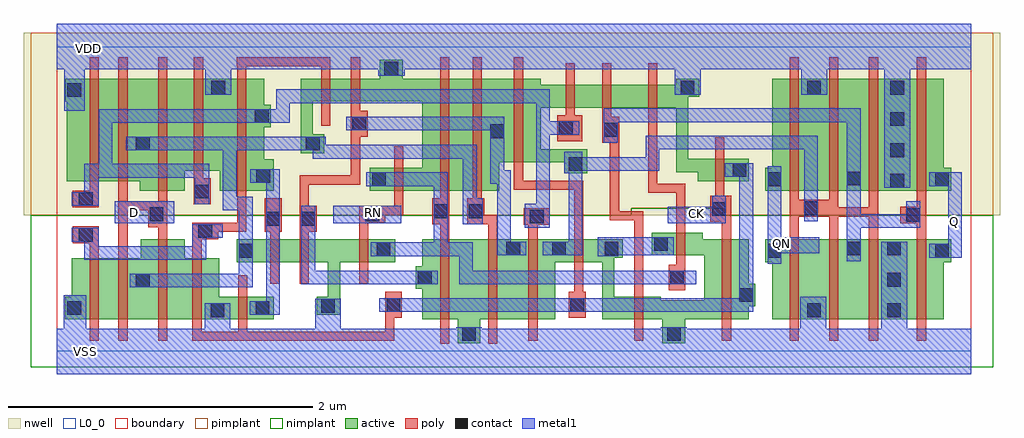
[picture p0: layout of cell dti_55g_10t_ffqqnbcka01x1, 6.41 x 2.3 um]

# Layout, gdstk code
from math import pi, radians
import gdstk
lib = gdstk.Library(unit=1e-6, precision=1e-09)
def R(c, l, rs):  # rectangles x0, y0, x1, y1
    for r in rs: c.add(gdstk.rectangle(r[:2], r[2:], *l))
def P(c, l, *ps):  # polygons
    for p in ps: c.add(gdstk.Polygon(p, *l))
L0_0 = (0, 0)
nwell = (3, 0)
active = (6, 0)
poly = (17, 0)
pimplant = (25, 0)
nimplant = (26, 0)
contact = (30, 0)
metal1 = (31, 0)
boundary = (108, 0)
L923_0 = (923, 0)

template_55g_10t_6 = lib.new_cell('template_55g_10t$6')
R(template_55g_10t_6, metal1, [(0,-0.15,0.2,0.15), (0,1.85,0.2,2.15)])
template_55g_10t_6.add(gdstk.FlexPath([(0.2,0.21),(0,0.21)], 0, ends="flush", simple_path=True, layer=923, datatype=0))  # L923_0
template_55g_10t_6.add(gdstk.FlexPath([(0.2,0.735),(0,0.735)], 0, ends="flush", simple_path=True, layer=923, datatype=0))  # L923_0
template_55g_10t_6.add(gdstk.FlexPath([(0.2,0.895),(0,0.895)], 0, ends="flush", simple_path=True, layer=923, datatype=0))  # L923_0
template_55g_10t_6.add(gdstk.FlexPath([(0.2,1.055),(0,1.055)], 0, ends="flush", simple_path=True, layer=923, datatype=0))  # L923_0
template_55g_10t_6.add(gdstk.FlexPath([(0.2,1.79),(0,1.79)], 0, ends="flush", simple_path=True, layer=923, datatype=0))  # L923_0

cellgrid_nom2_5 = lib.new_cell('cellgrid_noM2$5')
R(cellgrid_nom2_5, L0_0, [(0,0,0.2,0.2)])
cellgrid_nom2_5.add(gdstk.FlexPath([(0.2,0),(0,0.2)], 0, ends="flush", simple_path=True, layer=0, datatype=0))  # L0_0
cellgrid_nom2_5.add(gdstk.FlexPath([(0.2,0.2),(0,0)], 0, ends="flush", simple_path=True, layer=0, datatype=0))  # L0_0

pmos_15_n_2_1 = lib.new_cell('pmos_15_n_2$1')
R(pmos_15_n_2_1, nwell, [(-0.275,-0.16,0.335,0.31)])
R(pmos_15_n_2_1, active, [(-0.115,0,0.175,0.15)])
R(pmos_15_n_2_1, poly, [(0,-0.14,0.06,0.29)])
R(pmos_15_n_2_1, pimplant, [(-0.245,-0.16,0.305,0.31)])

pmos_735_n_2_6 = lib.new_cell('pmos_735_n_2$6')
R(pmos_735_n_2_6, nwell, [(-0.275,-0.16,0.335,0.895)])
R(pmos_735_n_2_6, active, [(-0.115,0,0.175,0.735)])
R(pmos_735_n_2_6, poly, [(0,-0.14,0.06,0.875)])
R(pmos_735_n_2_6, pimplant, [(-0.245,-0.16,0.305,0.895)])

cnt_7 = lib.new_cell('cnt$7')
R(cnt_7, contact, [(-0.045,-0.045,0.045,0.045)])
R(cnt_7, metal1, [(-0.045,-0.045,0.045,0.045)])

pcnt_v_7 = lib.new_cell('pcnt_v$7')
R(pcnt_v_7, poly, [(-0.055,-0.085,0.055,0.085)])
pcnt_v_7.add(gdstk.Reference(cnt_7, (0,0)))

pmos_4_n_2_1 = lib.new_cell('pmos_4_n_2$1')
R(pmos_4_n_2_1, nwell, [(-0.275,-0.16,0.335,0.56)])
R(pmos_4_n_2_1, active, [(-0.115,0,0.175,0.4)])
R(pmos_4_n_2_1, poly, [(0,-0.14,0.06,0.54)])
R(pmos_4_n_2_1, pimplant, [(-0.245,-0.16,0.305,0.56)])

nmos_525_n_2_6 = lib.new_cell('nmos_525_n_2$6')
R(nmos_525_n_2_6, active, [(-0.115,0,0.175,0.525)])
R(nmos_525_n_2_6, poly, [(0,-0.14,0.06,0.665)])
R(nmos_525_n_2_6, nimplant, [(-0.245,-0.16,0.305,0.685)])

cnt_n_6 = lib.new_cell('cnt_n$6')
R(cnt_n_6, active, [(-0.06,-0.075,0.06,0.075)])
R(cnt_n_6, contact, [(-0.045,-0.045,0.045,0.045)])
R(cnt_n_6, metal1, [(-0.045,-0.045,0.045,0.045)])

nmos_4_n_2_1 = lib.new_cell('nmos_4_n_2$1')
R(nmos_4_n_2_1, active, [(-0.115,0,0.175,0.4)])
R(nmos_4_n_2_1, poly, [(0,-0.14,0.06,0.54)])
R(nmos_4_n_2_1, nimplant, [(-0.245,-0.16,0.305,0.56)])

nmos_15_n_2_1 = lib.new_cell('nmos_15_n_2$1')
R(nmos_15_n_2_1, active, [(-0.115,0,0.175,0.15)])
R(nmos_15_n_2_1, poly, [(0,-0.14,0.06,0.29)])
R(nmos_15_n_2_1, nimplant, [(-0.245,-0.16,0.305,0.31)])

dti_55g_10t_ffqqnbcka01x = lib.new_cell('dti_55g_10t_ffqqnbcka01x1')
R(dti_55g_10t_ffqqnbcka01x, nwell, [(-0.215,-1.105,6.19,0.09)])
R(dti_55g_10t_ffqqnbcka01x, active, [(2.63,-1.835,2.78,-1.785), (3.975,-1.83,4.125,-1.79), (1.325,-1.79,1.425,-1.64), (2.66,-1.79,2.74,-1.265), (3.93,-1.79,4.295,-1.665), (5.42,-1.79,5.595,-1.265), (2.06,-1.415,2.22,-1.265), (3.25,-1.415,3.335,-1.265), (4.155,-1.37,4.325,-1.265), (1.27,-0.945,1.425,-0.74), (2.37,-0.945,2.43,-0.795), (5.44,-0.945,5.59,-0.21), (3.125,-0.76,3.48,-0.675), (1.6,-0.7,1.68,-0.21), (1.6,-0.7,1.755,-0.635), (3.14,-0.4,3.255,-0.25), (3.74,-0.4,3.79,-0.25)])
P(dti_55g_10t_ffqqnbcka01x, active, [(4.065,-0.825),(4.065,-0.4),(4.03,-0.4),(4.03,-0.25),(4.145,-0.25),(4.145,-0.735),(4.23,-0.735),(4.23,-0.825)],
  [(3.58,-1.79),(3.58,-1.415),(3.54,-1.415),(3.54,-1.265),(3.66,-1.265),(3.66,-1.64),(3.705,-1.64),(3.705,-1.79)],
  [(1.78,-1.76),(1.78,-1.415),(1.725,-1.415),(1.725,-1.265),(1.905,-1.265),(1.905,-1.415),(1.86,-1.415),(1.86,-1.76)],
  [(0.545,-0.945),(0.545,-0.885),(0.065,-0.885),(0.065,-0.21),(1.36,-0.21),(1.36,-0.885),(1.075,-0.885),(1.075,-0.815),(0.84,-0.815),(0.84,-0.945)],
  [(1.06,-1.79),(1.06,-1.66),(1.015,-1.66),(1.015,-1.64),(1.12,-1.64),(1.12,-1.66),(1.085,-1.66),(1.085,-1.79)],
  [(2.06,-0.36),(2.06,-0.21),(2.12,-0.21),(2.12,-0.165),(2.27,-0.165),(2.27,-0.21),(2.44,-0.21),(2.44,-0.36)])
R(dti_55g_10t_ffqqnbcka01x, poly, [(2.515,-1.95,2.575,-1.905), (2.83,-1.95,2.89,-1.9), (3.395,-1.65,3.455,-1.5), (4.095,-1.595,4.125,-1.49), (0.405,-1.26,0.465,-1.015), (5.33,-1.19,5.39,-1.05), (2.725,-1.165,2.89,-1.105), (4.385,-1.16,4.425,-0.98), (0.695,-1.15,0.725,-1.04), (5.13,-1.115,5.335,-1.055), (1.985,-1.105,2.275,-1.045), (1.365,-1.1,1.475,-0.995), (0.435,-1.075,0.64,-1.015), (3.305,-0.62,3.45,-0.45), (3.38,-0.62,3.4,-0.515), (1.735,-0.52,1.795,-0.475), (1.18,-0.13,1.795,-0.07)])
P(dti_55g_10t_ffqqnbcka01x, poly, [(3.395,-1.17),(3.395,-0.94),(3,-0.94),(3,-0.88),(3.455,-0.88),(3.455,-1.17)],
  [(4.065,-1.105),(4.065,-0.96),(3.88,-0.96),(3.88,-0.495),(3.94,-0.495),(3.94,-0.9),(4.125,-0.9),(4.125,-1.105)],
  [(0.99,-1.215),(0.99,-1.155),(1.185,-1.155),(1.185,-1.04),(1.245,-1.04),(1.245,-1.215)],
  [(4.81,-1.18),(4.81,-1.145),(4.81,-1.145),(4.81,-1.115),(4.81,-1.115),(4.81,-1.035),(4.87,-1.035),(4.87,-1.18)],
  [(1.595,-1.08),(1.595,-0.845),(1.93,-0.845),(1.93,-0.565),(1.99,-0.565),(1.99,-0.905),(1.655,-0.905),(1.655,-1.08)],
  [(0.89,-1.93),(0.89,-1.87),(2.155,-1.87),(2.155,-1.78),(2.215,-1.78),(2.215,-1.93)],
  [(3.79,-1.525),(3.79,-1.14),(3.63,-1.14),(3.63,-0.605),(3.69,-0.605),(3.69,-1.08),(3.85,-1.08),(3.85,-1.525)],
  [(5.07,-1.17),(5.07,-1.115),(5.03,-1.115),(5.03,-1.005),(5.1,-1.005),(5.1,-1.05),(5.13,-1.05),(5.13,-1.17)])
P(dti_55g_10t_ffqqnbcka01x, pimplant, [(-0.17,-1.105),(-0.17,0.09),(6.145,0.09),(6.145,-1.105),(4.37,-1.105),(4.37,-1.06),(3.77,-1.06),(3.77,-1.105)])
R(dti_55g_10t_ffqqnbcka01x, nimplant, [(3.77,-1.105,3.84,-1.06)])
P(dti_55g_10t_ffqqnbcka01x, nimplant, [(-0.17,-2.105),(-0.17,-1.105),(6.145,-1.105),(6.145,-2.105),(0.175,-2.105)])
R(dti_55g_10t_ffqqnbcka01x, metal1, [(0.045,-2,0.195,-1.63), (0.97,-2,1.14,-1.685), (1.695,-2,1.865,-1.655), (2.62,-2,2.79,-1.84), (3.965,-2,4.135,-1.84), (4.88,-2,5.05,-1.64), (5.41,-2,5.58,-1.28), (3.07,-1.19,3.235,-1.03), (0.38,-1.16,0.77,-1.015), (1.815,-1.16,2.26,-1.045), (5.43,-0.925,5.6,0), (3.33,-0.83,3.45,-0.69), (0.05,-0.42,0.185,0), (0.975,-0.315,1.145,0), (4.055,-0.315,4.225,0), (4.885,-0.315,5.055,0), (2.11,-0.19,2.285,0)])
P(dti_55g_10t_ffqqnbcka01x, metal1, [(2.64,-1.56),(2.64,-1.375),(2.06,-1.375),(2.06,-1.285),(2.475,-1.285),(2.475,-0.915),(2.03,-0.915),(2.03,-0.825),(2.565,-0.825),(2.565,-1.285),(2.73,-1.285),(2.73,-1.47),(4.195,-1.47),(4.195,-1.56)],
  [(2.115,-1.74),(2.115,-1.65),(2.365,-1.65),(2.365,-1.65),(4.48,-1.65),(4.48,-0.855),(4.385,-0.855),(4.385,-0.765),(4.57,-0.765),(4.57,-1.74),(2.445,-1.74),(2.445,-1.74)],
  [(1.605,-1.56),(1.605,-1.045),(1.695,-1.045),(1.695,-1.47),(2.5,-1.47),(2.5,-1.56)],
  [(3.19,-1.37),(3.19,-1.28),(3.36,-1.28),(3.36,-0.69),(3.45,-0.69),(3.45,-0.725),(3.865,-0.725),(3.865,-0.585),(4.995,-0.585),(4.995,-1.145),(4.905,-1.145),(4.905,-0.675),(3.955,-0.675),(3.955,-0.815),(3.45,-0.815),(3.45,-1.37)],
  [(3.07,-1.16),(3.07,-1.065),(3.145,-1.065),(3.145,-0.37),(1.53,-0.37),(1.53,-0.5),(0.365,-0.5),(0.365,-0.77),(1,-0.77),(1,-1.035),(0.905,-1.035),(0.905,-0.86),(0.275,-0.86),(0.275,-1.045),(0.1,-1.045),(0.1,-0.955),(0.18,-0.955),(0.18,-0.77),(0.275,-0.77),(0.275,-0.41),(1.44,-0.41),(1.44,-0.28),(3.235,-0.28),(3.235,-0.49),(3.43,-0.49),(3.43,-0.58),(3.235,-0.58),(3.235,-1.16)],
  [(0.18,-1.4),(0.18,-1.28),(0.1,-1.28),(0.1,-1.19),(0.275,-1.19),(0.275,-1.31),(0.89,-1.31),(0.89,-1.165),(1.09,-1.165),(1.09,-1.255),(0.98,-1.255),(0.98,-1.4)],
  [(3.55,-1.375),(3.55,-1.25),(3.685,-1.25),(3.685,-1.25),(4.05,-1.25),(4.05,-1.37),(3.685,-1.37),(3.685,-1.375)],
  [(1.265,-1.76),(1.265,-1.67),(1.375,-1.67),(1.375,-0.895),(1.27,-0.895),(1.27,-0.805),(1.465,-0.805),(1.465,-1.76)],
  [(0.48,-1.58),(0.48,-1.49),(1.195,-1.49),(1.195,-1.075),(1.09,-1.075),(1.09,-0.68),(0.455,-0.68),(0.455,-0.59),(1.765,-0.59),(1.765,-0.645),(2.755,-0.645),(2.755,-0.995),(2.795,-0.995),(2.795,-1.165),(2.665,-1.165),(2.665,-0.735),(1.68,-0.735),(1.68,-0.68),(1.18,-0.68),(1.18,-0.985),(1.285,-0.985),(1.285,-1.58)],
  [(4.665,-1.425),(4.665,-0.785),(4.755,-0.785),(4.755,-1.25),(5.005,-1.25),(5.005,-1.355),(4.755,-1.355),(4.755,-1.425)],
  [(2.89,-1.37),(2.89,-0.9),(2.845,-0.9),(2.845,-0.55),(1.9,-0.55),(1.9,-0.46),(2.935,-0.46),(2.935,-0.81),(2.98,-0.81),(2.98,-1.28),(3.08,-1.28),(3.08,-1.37)],
  [(4.01,-1.16),(4.01,-1.05),(4.3,-1.05),(4.3,-0.98),(4.39,-0.98),(4.39,-1.16)],
  [(5.185,-1.41),(5.185,-0.495),(3.68,-0.495),(3.68,-0.63),(3.59,-0.63),(3.59,-0.405),(5.275,-0.405),(5.275,-1.1),(5.575,-1.1),(5.575,-1.015),(5.665,-1.015),(5.665,-1.19),(5.275,-1.19),(5.275,-1.41)],
  [(5.725,-1.385),(5.725,-1.295),(5.85,-1.295),(5.85,-0.915),(5.725,-0.915),(5.725,-0.825),(5.94,-0.825),(5.94,-1.385)])
P(dti_55g_10t_ffqqnbcka01x, boundary, [(0,-2.15),(0,0.15),(6,0.15),(6,-2.15),(0.27,-2.15),(0.175,-2.15)])
r = gdstk.Reference(template_55g_10t_6, (0,-2)); r.repetition = gdstk.Repetition(30, 1, v1=(0.2,0), v2=(0,0)); dti_55g_10t_ffqqnbcka01x.add(r)
r = gdstk.Reference(cellgrid_nom2_5, (0,-2)); r.repetition = gdstk.Repetition(30, 10, v1=(0.2,0), v2=(0,0.2)); dti_55g_10t_ffqqnbcka01x.add(r)
dti_55g_10t_ffqqnbcka01x.add(gdstk.Reference(pmos_15_n_2_1, (4.32,-0.885)))
dti_55g_10t_ffqqnbcka01x.add(gdstk.Reference(pmos_735_n_2_6, (4.81,-0.945)))
dti_55g_10t_ffqqnbcka01x.add(gdstk.Reference(pmos_735_n_2_6, (5.07,-0.945)))
dti_55g_10t_ffqqnbcka01x.add(gdstk.Reference(pmos_735_n_2_6, (5.33,-0.945)))
dti_55g_10t_ffqqnbcka01x.add(gdstk.Reference(pmos_735_n_2_6, (5.645,-0.945)))
dti_55g_10t_ffqqnbcka01x.add(gdstk.Reference(pcnt_v_7, (4.345,-1.065), rotation=pi))
dti_55g_10t_ffqqnbcka01x.add(gdstk.Reference(pmos_4_n_2_1, (3,-0.76)))
dti_55g_10t_ffqqnbcka01x.add(gdstk.Reference(pmos_4_n_2_1, (3,-0.61)))
dti_55g_10t_ffqqnbcka01x.add(gdstk.Reference(pmos_4_n_2_1, (0.405,-0.885)))
dti_55g_10t_ffqqnbcka01x.add(gdstk.Reference(pcnt_v_7, (0.955,-0.95), rotation=pi))
dti_55g_10t_ffqqnbcka01x.add(gdstk.Reference(pcnt_v_7, (0.19,-1), rotation=pi/2))
dti_55g_10t_ffqqnbcka01x.add(gdstk.Reference(pmos_4_n_2_1, (0.215,-0.885)))
dti_55g_10t_ffqqnbcka01x.add(gdstk.Reference(pmos_735_n_2_6, (1.185,-0.945)))
dti_55g_10t_ffqqnbcka01x.add(gdstk.Reference(pmos_735_n_2_6, (2.515,-0.945)))
dti_55g_10t_ffqqnbcka01x.add(gdstk.Reference(pmos_735_n_2_6, (2.73,-0.945)))
dti_55g_10t_ffqqnbcka01x.add(gdstk.Reference(pmos_735_n_2_6, (0.665,-0.945)))
dti_55g_10t_ffqqnbcka01x.add(gdstk.Reference(pmos_15_n_2_1, (2.215,-0.945)))
dti_55g_10t_ffqqnbcka01x.add(gdstk.Reference(pcnt_v_7, (2.52,-1.08)))
dti_55g_10t_ffqqnbcka01x.add(gdstk.Reference(pcnt_v_7, (2.75,-1.08)))
dti_55g_10t_ffqqnbcka01x.add(gdstk.Reference(nmos_525_n_2_6, (2.83,-1.79)))
dti_55g_10t_ffqqnbcka01x.add(gdstk.Reference(nmos_525_n_2_6, (3.095,-1.79)))
dti_55g_10t_ffqqnbcka01x.add(gdstk.Reference(cnt_n_6, (2.995,-1.325), rotation=pi/2))
dti_55g_10t_ffqqnbcka01x.add(gdstk.Reference(pmos_15_n_2_1, (3.34,-0.4)))
dti_55g_10t_ffqqnbcka01x.add(gdstk.Reference(cnt_n_6, (3.405,-0.77), rotation=pi/2))
dti_55g_10t_ffqqnbcka01x.add(gdstk.Reference(pmos_15_n_2_1, (3.58,-0.4)))
dti_55g_10t_ffqqnbcka01x.add(gdstk.Reference(pmos_15_n_2_1, (3.88,-0.4)))
dti_55g_10t_ffqqnbcka01x.add(gdstk.Reference(pcnt_v_7, (3.34,-0.535)))
dti_55g_10t_ffqqnbcka01x.add(gdstk.Reference(pcnt_v_7, (3.635,-0.545)))
dti_55g_10t_ffqqnbcka01x.add(gdstk.Reference(cnt_n_6, (4.48,-0.81), rotation=pi))
dti_55g_10t_ffqqnbcka01x.add(gdstk.Reference(cnt_n_6, (4.71,-0.87)))
dti_55g_10t_ffqqnbcka01x.add(gdstk.Reference(cnt_n_6, (4.97,-0.27), rotation=pi/2))
dti_55g_10t_ffqqnbcka01x.add(gdstk.Reference(cnt_n_6, (5.23,-0.865), rotation=pi/2))
dti_55g_10t_ffqqnbcka01x.add(gdstk.Reference(cnt_n_6, (5.515,-0.88), rotation=pi/2))
dti_55g_10t_ffqqnbcka01x.add(gdstk.Reference(cnt_n_6, (5.515,-0.68), rotation=pi/2))
dti_55g_10t_ffqqnbcka01x.add(gdstk.Reference(cnt_n_6, (5.515,-0.475), rotation=pi/2))
dti_55g_10t_ffqqnbcka01x.add(gdstk.Reference(cnt_n_6, (5.515,-0.27), rotation=pi/2))
dti_55g_10t_ffqqnbcka01x.add(gdstk.Reference(cnt_n_6, (5.81,-0.87), rotation=pi))
dti_55g_10t_ffqqnbcka01x.add(gdstk.Reference(cnt_n_6, (4.14,-0.27), rotation=3*pi/2))
dti_55g_10t_ffqqnbcka01x.add(gdstk.Reference(cnt_n_6, (0.115,-0.285)))
dti_55g_10t_ffqqnbcka01x.add(gdstk.Reference(pmos_4_n_2_1, (0.405,-0.61)))
dti_55g_10t_ffqqnbcka01x.add(gdstk.Reference(cnt_n_6, (0.565,-0.635), rotation=pi/2))
dti_55g_10t_ffqqnbcka01x.add(gdstk.Reference(pmos_4_n_2_1, (0.215,-0.61)))
dti_55g_10t_ffqqnbcka01x.add(gdstk.Reference(pmos_4_n_2_1, (0.9,-0.61)))
dti_55g_10t_ffqqnbcka01x.add(gdstk.Reference(pcnt_v_7, (1.985,-0.505)))
dti_55g_10t_ffqqnbcka01x.add(gdstk.Reference(cnt_n_6, (2.89,-0.555), rotation=pi/2))
dti_55g_10t_ffqqnbcka01x.add(gdstk.Reference(pmos_4_n_2_1, (0.9,-0.755)))
dti_55g_10t_ffqqnbcka01x.add(gdstk.Reference(pmos_15_n_2_1, (1.735,-0.36)))
dti_55g_10t_ffqqnbcka01x.add(gdstk.Reference(cnt_n_6, (2.115,-0.87), rotation=pi))
dti_55g_10t_ffqqnbcka01x.add(gdstk.Reference(cnt_n_6, (1.345,-0.455), rotation=pi))
dti_55g_10t_ffqqnbcka01x.add(gdstk.Reference(pmos_15_n_2_1, (1.93,-0.36)))
dti_55g_10t_ffqqnbcka01x.add(gdstk.Reference(cnt_n_6, (1.06,-0.27), rotation=pi/2))
dti_55g_10t_ffqqnbcka01x.add(gdstk.Reference(cnt_n_6, (1.355,-0.85), rotation=pi))
dti_55g_10t_ffqqnbcka01x.add(gdstk.Reference(cnt_n_6, (1.68,-0.635), rotation=pi/2))
dti_55g_10t_ffqqnbcka01x.add(gdstk.Reference(cnt_n_6, (2.195,-0.145), rotation=pi/2))
dti_55g_10t_ffqqnbcka01x.add(gdstk.Reference(nmos_525_n_2_6, (0.665,-1.79)))
dti_55g_10t_ffqqnbcka01x.add(gdstk.Reference(nmos_4_n_2_1, (0.89,-1.79)))
dti_55g_10t_ffqqnbcka01x.add(gdstk.Reference(pcnt_v_7, (0.655,-1.1)))
dti_55g_10t_ffqqnbcka01x.add(gdstk.Reference(pcnt_v_7, (0.975,-1.21), rotation=pi/2))
dti_55g_10t_ffqqnbcka01x.add(gdstk.Reference(pcnt_v_7, (0.19,-1.235), rotation=pi/2))
dti_55g_10t_ffqqnbcka01x.add(gdstk.Reference(nmos_15_n_2_1, (1.19,-1.79)))
dti_55g_10t_ffqqnbcka01x.add(gdstk.Reference(pcnt_v_7, (2.07,-1.1), rotation=pi/2))
dti_55g_10t_ffqqnbcka01x.add(gdstk.Reference(pcnt_v_7, (1.65,-1.13)))
dti_55g_10t_ffqqnbcka01x.add(gdstk.Reference(pcnt_v_7, (1.42,-1.13)))
dti_55g_10t_ffqqnbcka01x.add(gdstk.Reference(nmos_15_n_2_1, (1.4,-1.415)))
dti_55g_10t_ffqqnbcka01x.add(gdstk.Reference(pcnt_v_7, (2.21,-1.695), rotation=pi))
dti_55g_10t_ffqqnbcka01x.add(gdstk.Reference(nmos_15_n_2_1, (1.595,-1.415)))
dti_55g_10t_ffqqnbcka01x.add(gdstk.Reference(cnt_n_6, (0.115,-1.715), rotation=pi))
dti_55g_10t_ffqqnbcka01x.add(gdstk.Reference(cnt_n_6, (1.055,-1.73), rotation=pi/2))
dti_55g_10t_ffqqnbcka01x.add(gdstk.Reference(cnt_n_6, (2.415,-1.515), rotation=pi))
dti_55g_10t_ffqqnbcka01x.add(gdstk.Reference(cnt_n_6, (2.705,-1.885), rotation=pi/2))
dti_55g_10t_ffqqnbcka01x.add(gdstk.Reference(cnt_n_6, (1.35,-1.715), rotation=3*pi/2))
dti_55g_10t_ffqqnbcka01x.add(gdstk.Reference(cnt_n_6, (1.24,-1.34), rotation=pi))
dti_55g_10t_ffqqnbcka01x.add(gdstk.Reference(cnt_n_6, (1.78,-1.7), rotation=pi/2))
dti_55g_10t_ffqqnbcka01x.add(gdstk.Reference(cnt_n_6, (2.145,-1.33), rotation=3*pi/2))
dti_55g_10t_ffqqnbcka01x.add(gdstk.Reference(nmos_525_n_2_6, (2.515,-1.79)))
dti_55g_10t_ffqqnbcka01x.add(gdstk.Reference(cnt_n_6, (0.565,-1.535), rotation=pi/2))
dti_55g_10t_ffqqnbcka01x.add(gdstk.Reference(nmos_4_n_2_1, (0.405,-1.79)))
dti_55g_10t_ffqqnbcka01x.add(gdstk.Reference(nmos_15_n_2_1, (1.985,-1.415)))
dti_55g_10t_ffqqnbcka01x.add(gdstk.Reference(nmos_4_n_2_1, (0.215,-1.79)))
dti_55g_10t_ffqqnbcka01x.add(gdstk.Reference(pcnt_v_7, (3.15,-1.115), rotation=pi/2))
dti_55g_10t_ffqqnbcka01x.add(gdstk.Reference(pcnt_v_7, (4.95,-1.06), rotation=pi/2))
dti_55g_10t_ffqqnbcka01x.add(gdstk.Reference(pcnt_v_7, (5.62,-1.105), rotation=pi/2))
dti_55g_10t_ffqqnbcka01x.add(gdstk.Reference(cnt_n_6, (3.295,-1.325), rotation=pi/2))
dti_55g_10t_ffqqnbcka01x.add(gdstk.Reference(cnt_n_6, (3.64,-1.325), rotation=3*pi/2))
dti_55g_10t_ffqqnbcka01x.add(gdstk.Reference(cnt_n_6, (4.05,-1.885), rotation=pi/2))
dti_55g_10t_ffqqnbcka01x.add(gdstk.Reference(cnt_n_6, (4.525,-1.63), rotation=pi))
dti_55g_10t_ffqqnbcka01x.add(gdstk.Reference(cnt_n_6, (4.71,-1.34), rotation=pi))
dti_55g_10t_ffqqnbcka01x.add(gdstk.Reference(nmos_15_n_2_1, (3.395,-1.415)))
dti_55g_10t_ffqqnbcka01x.add(gdstk.Reference(nmos_15_n_2_1, (3.79,-1.79)))
dti_55g_10t_ffqqnbcka01x.add(gdstk.Reference(nmos_15_n_2_1, (4.065,-1.37)))
dti_55g_10t_ffqqnbcka01x.add(gdstk.Reference(nmos_525_n_2_6, (4.365,-1.79)))
dti_55g_10t_ffqqnbcka01x.add(gdstk.Reference(nmos_525_n_2_6, (5.07,-1.79)))
dti_55g_10t_ffqqnbcka01x.add(gdstk.Reference(nmos_525_n_2_6, (5.33,-1.79)))
dti_55g_10t_ffqqnbcka01x.add(gdstk.Reference(nmos_525_n_2_6, (5.645,-1.79)))
dti_55g_10t_ffqqnbcka01x.add(gdstk.Reference(cnt_n_6, (5.23,-1.325), rotation=pi/2))
dti_55g_10t_ffqqnbcka01x.add(gdstk.Reference(cnt_n_6, (4.97,-1.73), rotation=pi/2))
dti_55g_10t_ffqqnbcka01x.add(gdstk.Reference(cnt_n_6, (5.495,-1.325), rotation=pi/2))
dti_55g_10t_ffqqnbcka01x.add(gdstk.Reference(cnt_n_6, (5.495,-1.53), rotation=pi/2))
dti_55g_10t_ffqqnbcka01x.add(gdstk.Reference(cnt_n_6, (5.495,-1.73), rotation=pi/2))
dti_55g_10t_ffqqnbcka01x.add(gdstk.Reference(cnt_n_6, (5.81,-1.34), rotation=pi))
dti_55g_10t_ffqqnbcka01x.add(gdstk.Reference(pcnt_v_7, (3.415,-1.695), rotation=pi))
dti_55g_10t_ffqqnbcka01x.add(gdstk.Reference(nmos_525_n_2_6, (4.81,-1.79)))
dti_55g_10t_ffqqnbcka01x.add(gdstk.Reference(cnt_n_6, (3.965,-1.295), rotation=pi))
dti_55g_10t_ffqqnbcka01x.add(gdstk.Reference(pcnt_v_7, (4.07,-1.515), rotation=pi))
dti_55g_10t_ffqqnbcka01x.add(gdstk.Label('D', (0.51,-1.09), layer=131, texttype=0))
dti_55g_10t_ffqqnbcka01x.add(gdstk.Label('RN', (2.08,-1.09), layer=131, texttype=0))
dti_55g_10t_ffqqnbcka01x.add(gdstk.Label('CK', (4.2,-1.095), layer=131, texttype=0))
dti_55g_10t_ffqqnbcka01x.add(gdstk.Label('Q', (5.89,-1.145), layer=131, texttype=0))
dti_55g_10t_ffqqnbcka01x.add(gdstk.Label('QN', (4.755,-1.295), layer=131, texttype=0))
dti_55g_10t_ffqqnbcka01x.add(gdstk.Label('VDD', (0.21,-0.01), layer=131, texttype=0))
dti_55g_10t_ffqqnbcka01x.add(gdstk.Label('VSS', (0.19,-2), layer=131, texttype=0))

lib.write_gds('dti_55g_10t_ffqqnbcka01x1.gds')
